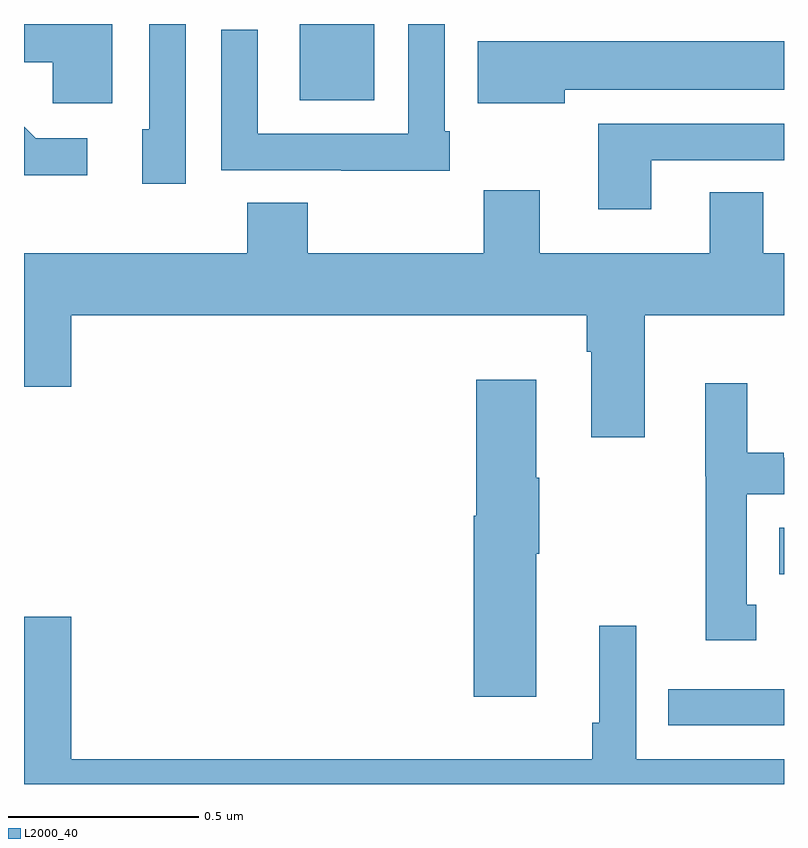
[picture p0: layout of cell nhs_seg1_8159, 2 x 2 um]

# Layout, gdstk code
import gdstk
lib = gdstk.Library(unit=1e-6, precision=1e-09)
def R(c, l, rs):  # rectangles x0, y0, x1, y1
    for r in rs: c.add(gdstk.rectangle(r[:2], r[2:], *l))
def P(c, l, *ps):  # polygons
    for p in ps: c.add(gdstk.Polygon(p, *l))
L2000_40 = (2000, 40)

nhs_seg1_8159 = lib.new_cell('nhs_seg1_8159')
R(nhs_seg1_8159, L2000_40, [(214.696,517.353,215,517.449), (214.987,517.751,215,517.873), (213.725,518.999,213.922,519.199)])
P(nhs_seg1_8159, L2000_40, [(214.12,518.917),(214.107,518.917),(214.107,519.199),(214.011,519.199),(214.011,518.91),(213.615,518.91),(213.615,519.184),(213.519,519.184),(213.519,518.814),(213.835,518.814),(213.835,518.813),(214.12,518.813)],
  [(213.426,519.199),(213.33,519.199),(213.33,518.922),(213.311,518.922),(213.311,518.778),(213.426,518.778)],
  [(213.232,519.199),(213,519.199),(213,519.098),(213.075,519.098),(213.075,518.99),(213.232,518.99)],
  [(214.423,519.026),(215,519.026),(215,519.154),(214.194,519.154),(214.194,518.99),(214.423,518.99)],
  [(214.651,518.841),(215,518.841),(215,518.937),(214.511,518.937),(214.511,518.712),(214.651,518.712)],
  [(213.166,518.898),(213.031,518.898),(213,518.929),(213,518.801),(213.166,518.801)],
  [(214.633,518.432),(215,518.432),(215,518.596),(214.945,518.596),(214.945,518.756),(214.805,518.756),(214.805,518.596),(214.357,518.596),(214.357,518.761),(214.21,518.761),(214.21,518.596),(213.747,518.596),(213.747,518.729),(213.587,518.729),(213.587,518.596),(213,518.596),(213,518.244),(213.124,518.244),(213.124,518.432),(214.481,518.432),(214.481,518.336),(214.493,518.336),(214.493,518.112),(214.633,518.112)],
  [(214.348,517.805),(214.356,517.805),(214.356,518.005),(214.348,518.005),(214.348,518.263),(214.19,518.263),(214.19,517.905),(214.184,517.905),(214.184,517.428),(214.348,517.428)],
  [(214.927,517.671),(214.902,517.671),(214.902,517.962),(215,517.962),(215,518.058),(214.999,518.058),(214.999,518.071),(214.903,518.071),(214.903,518.254),(214.793,518.254),(214.793,518.009),(214.794,518.009),(214.794,517.577),(214.927,517.577)],
  [(215,517.264),(214.611,517.264),(214.611,517.615),(214.514,517.615),(214.514,517.36),(214.495,517.36),(214.495,517.264),(213.124,517.264),(213.124,517.639),(213,517.639),(213,517.199),(215,517.199)])

lib.write_gds('nhs_seg1_8159.gds')
